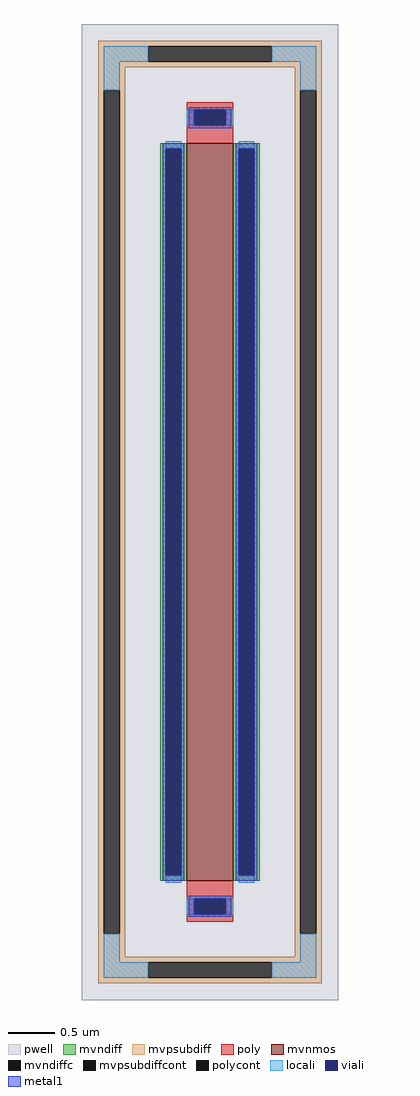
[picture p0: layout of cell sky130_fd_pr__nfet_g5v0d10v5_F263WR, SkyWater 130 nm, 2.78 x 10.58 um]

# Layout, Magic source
magic
tech sky130A
<< pwell >>
rect -139 -529 139 529
<< mvnmos >>
rect -25 -400 25 400
<< mvndiff >>
rect -54 394 -25 400
rect -54 -394 -48 394
rect -31 -394 -25 394
rect -54 -400 -25 -394
rect 25 394 54 400
rect 25 -394 31 394
rect 48 -394 54 394
rect 25 -400 54 -394
<< mvndiffc >>
rect -48 -394 -31 394
rect 31 -394 48 394
<< mvpsubdiff >>
rect -121 505 121 511
rect -121 488 -67 505
rect 67 488 121 505
rect -121 482 121 488
rect -121 457 -92 482
rect -121 -457 -115 457
rect -98 -457 -92 457
rect 92 457 121 482
rect -121 -482 -92 -457
rect 92 -457 98 457
rect 115 -457 121 457
rect 92 -482 121 -457
rect -121 -488 121 -482
rect -121 -505 -67 -488
rect 67 -505 121 -488
rect -121 -511 121 -505
<< mvpsubdiffcont >>
rect -67 488 67 505
rect -115 -457 -98 457
rect 98 -457 115 457
rect -67 -505 67 -488
<< poly >>
rect -25 436 25 444
rect -25 419 -17 436
rect 17 419 25 436
rect -25 400 25 419
rect -25 -419 25 -400
rect -25 -436 -17 -419
rect 17 -436 25 -419
rect -25 -444 25 -436
<< polycont >>
rect -17 419 17 436
rect -17 -436 17 -419
<< locali >>
rect -115 488 -67 505
rect 67 488 115 505
rect -115 457 -98 488
rect 98 457 115 488
rect -25 419 -17 436
rect 17 419 25 436
rect -48 394 -31 402
rect -48 -402 -31 -394
rect 31 394 48 402
rect 31 -402 48 -394
rect -25 -436 -17 -419
rect 17 -436 25 -419
rect -115 -488 -98 -457
rect 98 -488 115 -457
rect -115 -505 -67 -488
rect 67 -505 115 -488
<< viali >>
rect -17 419 17 436
rect -48 -394 -31 394
rect 31 -394 48 394
rect -17 -436 17 -419
<< metal1 >>
rect -23 436 23 439
rect -23 419 -17 436
rect 17 419 23 436
rect -23 416 23 419
rect -51 394 -28 400
rect -51 -394 -48 394
rect -31 -394 -28 394
rect -51 -400 -28 -394
rect 28 394 51 400
rect 28 -394 31 394
rect 48 -394 51 394
rect 28 -400 51 -394
rect -23 -419 23 -416
rect -23 -436 -17 -419
rect 17 -436 23 -419
rect -23 -439 23 -436
<< properties >>
string FIXED_BBOX -106 -496 106 496
string gencell sky130_fd_pr__nfet_g5v0d10v5
string library sky130
string parameters w 8 l 0.50 m 1 nf 1 diffcov 100 polycov 100 guard 1 glc 1 grc 1 gtc 1 gbc 1 tbcov 100 rlcov 100 topc 1 botc 1 poverlap 0 doverlap 1 lmin 0.50 wmin 0.42 compatible {sky130_fd_pr__nfet_01v8 sky130_fd_pr__nfet_01v8_lvt  sky130_fd_bs_flash__special_sonosfet_star  sky130_fd_pr__nfet_g5v0d10v5 sky130_fd_pr__nfet_05v0_nvt  sky130_fd_pr__nfet_03v3_nvt} full_metal 1 viasrc 100 viadrn 100 viagate 100 viagb 0 viagr 0 viagl 0 viagt 0
string sky130_fd_pr__nfet_g5v0d10v5_F263WR gencell
<< end >>
